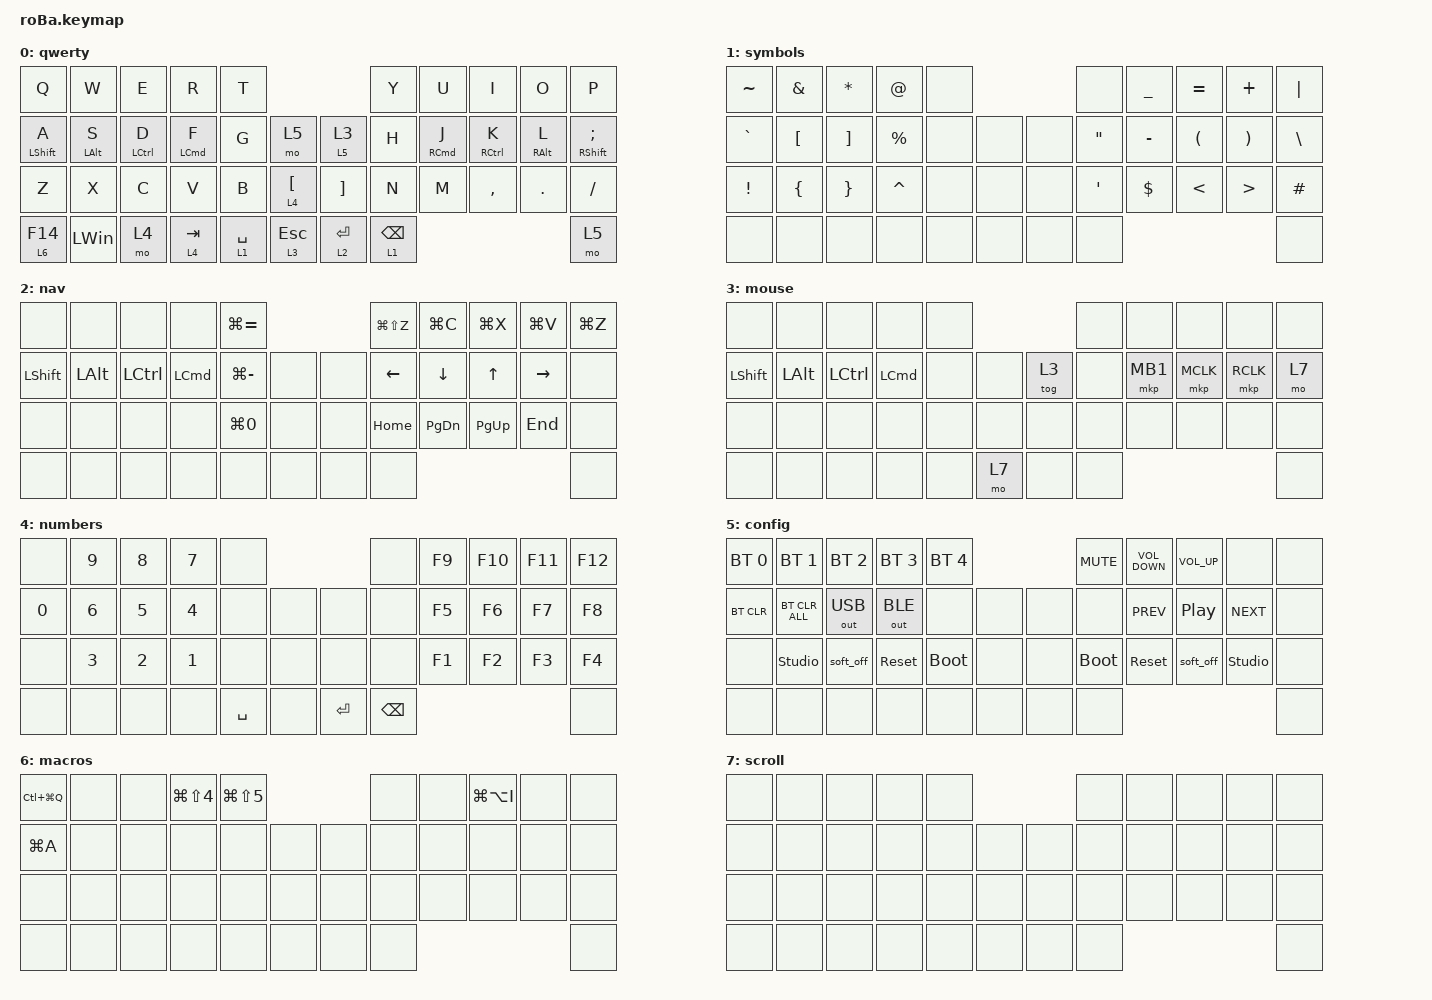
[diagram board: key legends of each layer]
#include <behaviors.dtsi>
#include <dt-bindings/zmk/bt.h>
#include <dt-bindings/zmk/keys.h>
#include <dt-bindings/zmk/outputs.h>
#include <dt-bindings/zmk/pointing.h>

&lt {
    tapping-term-ms = <175>;
    flavor = "balanced";
};

&trackball {
    // automouse-layer = <3>;

    scroll-layers = <7>;

    // arrows {
    //     layers = <3>;
    //     bindings =
    //         <&kp RIGHT_ARROW>,
    //         <&kp LEFT_ARROW>,
    //         <&kp UP_ARROW>,
    //         <&kp DOWN_ARROW>;
    //     tick = <10>;
    //     wait-ms = <5>;
    //     tap-ms = <5>;
    // };
};

/ {
    combos {
        compatible = "zmk,combos";

        combo_caps_word {
            bindings = <&caps_word>;
            key-positions = <38 41>;
        };
    };

    behaviors {
        hm: homerow_mod {
            compatible = "zmk,behavior-hold-tap";
            display-name = "Homerow Mod";
            bindings = <&kp>, <&kp>;

            #binding-cells = <2>;
            tapping-term-ms = <200>;
            quick-tap-ms = <150>;
            require-prior-idle-ms = <100>;
            flavor = "tap-preferred";
        };

        hms: homerow_mod_shift {
            compatible = "zmk,behavior-hold-tap";
            display-name = "Homerow Mod Shift";
            bindings = <&kp>, <&kp>;

            #binding-cells = <2>;
            tapping-term-ms = <175>;
            quick-tap-ms = <150>;
            require-prior-idle-ms = <100>;
            flavor = "tap-preferred";
        };

        thl: toggle_hold_layer {
            compatible = "zmk,behavior-hold-tap";
            display-name = "Toggle Hold Layer";
            bindings = <&mo>, <&tog>;

            #binding-cells = <2>;
            tapping-term-ms = <200>;
            flavor = "tap-preferred";
        };

        thumb_lt: thumb_lt {
            compatible = "zmk,behavior-hold-tap";
            display-name = "Thumb Layer Tap";
            bindings = <&mo>, <&kp>;

            #binding-cells = <2>;
            tapping-term-ms = <200>;
            quick-tap-ms = <150>;
            require-prior-idle-ms = <100>;
            flavor = "tap-preferred";
        };

        index_lt: index_lt {
            compatible = "zmk,behavior-hold-tap";
            label = "Index Layer Tap";
            bindings = <&mo>, <&kp>;

            #binding-cells = <2>;
            tapping-term-ms = <200>;
            require-prior-idle-ms = <100>;
            flavor = "tap-preferred";
        };

        tog_on: toggle_layer_on_only {
            compatible = "zmk,behavior-toggle-layer";
            #binding-cells = <1>;
            display-name = "Toggle Layer On";
            toggle-mode = "on";
        };
    };

    keymap {
        compatible = "zmk,keymap";

        QWERTY {
            bindings = <
&kp Q              &kp W           &kp E               &kp R               &kp T                                                   &kp Y            &kp U                &kp I                &kp O            &kp P
&hms LEFT_SHIFT A  &hm LEFT_ALT S  &hm LEFT_CONTROL D  &hm LEFT_COMMAND F  &kp G        &mo 5                   &thl 5 3           &kp H            &hm RIGHT_COMMAND J  &hm RIGHT_CONTROL K  &hm RIGHT_ALT L  &hms RIGHT_SHIFT SEMI
&kp Z              &kp X           &kp C               &kp V               &kp B        &lt 4 LEFT_BRACKET      &kp RIGHT_BRACKET  &kp N            &kp M                &kp COMMA            &kp DOT          &kp SLASH
&lt 6 F14          &kp LEFT_WIN    &mo 4               &thumb_lt 4 TAB     &lt 1 SPACE  &lt 3 ESCAPE            &lt 2 ENTER        &lt 1 BACKSPACE                                                             &mo 5
            >;

            display-name = "qwerty";
        };

        Symbols {
            bindings = <
&kp TILDE  &kp AMPERSAND   &kp ASTERISK     &kp AT       &none                    &none              &kp UNDER   &kp EQUAL             &kp PLUS               &kp PIPE
&kp GRAVE  &kp LBKT        &kp RBKT         &kp PERCENT  &none  &none      &none  &kp DOUBLE_QUOTES  &kp MINUS   &kp LEFT_PARENTHESIS  &kp RIGHT_PARENTHESIS  &kp BACKSLASH
&kp EXCL   &kp LEFT_BRACE  &kp RIGHT_BRACE  &kp CARET    &none  &none      &none  &kp SINGLE_QUOTE   &kp DOLLAR  &kp LESS_THAN         &kp GREATER_THAN       &kp HASH
&none      &none           &none            &none        &none  &none      &none  &none                                                                       &none
            >;

            display-name = "symbols";
        };

        Nav {
            bindings = <
&none           &none         &none             &none             &kp LG(EQUAL)                       &kp LG(LS(Z))  &kp LG(C)       &kp LG(X)     &kp LG(V)  &kp LG(Z)
&kp LEFT_SHIFT  &kp LEFT_ALT  &kp LEFT_CONTROL  &kp LEFT_COMMAND  &kp LG(MINUS)     &none      &none  &kp LEFT       &kp DOWN_ARROW  &kp UP_ARROW  &kp RIGHT  &none
&none           &none         &none             &none             &kp LG(NUMBER_0)  &none      &none  &kp HOME       &kp PAGE_DOWN   &kp PAGE_UP   &kp END    &none
&none           &none         &none             &none             &none             &none      &none  &none                                                   &none
            >;

            display-name = "nav";
        };

        Mouse {
            bindings = <
&none           &none         &none             &none             &none                     &none  &none     &none      &none      &none
&kp LEFT_SHIFT  &kp LEFT_ALT  &kp LEFT_CONTROL  &kp LEFT_COMMAND  &none  &none      &tog 3  &none  &mkp MB1  &mkp MCLK  &mkp RCLK  &mo 7
&none           &none         &none             &none             &none  &none      &none   &none  &none     &none      &none      &none
&none           &none         &none             &none             &none  &mo 7      &none   &none                                  &none
            >;

            display-name = "mouse";
        };

        Numbers {
            bindings = <
&none   &kp N9  &kp N8  &kp N7  &none                            &none          &kp F9  &kp F10  &kp F11  &kp F12
&kp N0  &kp N6  &kp N5  &kp N4  &none      &none      &none      &none          &kp F5  &kp F6   &kp F7   &kp F8
&none   &kp N3  &kp N2  &kp N1  &none      &none      &none      &none          &kp F1  &kp F2   &kp F3   &kp F4
&none   &none   &none   &none   &kp SPACE  &none      &kp ENTER  &kp BACKSPACE                            &none
            >;

            display-name = "numbers";
        };

        Config {
            bindings = <
&bt BT_SEL 0  &bt BT_SEL 1    &bt BT_SEL 2  &bt BT_SEL 3  &bt BT_SEL 4                    &kp C_MUTE   &kp C_VOLUME_DOWN  &kp C_VOLUME_UP  &none           &none
&bt BT_CLR    &bt BT_CLR_ALL  &out OUT_USB  &out OUT_BLE  &none         &none      &none  &none        &kp C_PREV         &kp C_PP         &kp C_NEXT      &none
&none         &studio_unlock  &soft_off     &sys_reset    &bootloader   &none      &none  &bootloader  &sys_reset         &soft_off        &studio_unlock  &none
&none         &none           &none         &none         &none         &none      &none  &none                                                            &none
            >;

            display-name = "config";
        };

        Macros {
            bindings = <
&kp LC(LG(Q))  &none  &none  &kp LG(LS(NUMBER_4))  &kp LG(LS(N5))                    &none  &none  &kp LG(LA(I))  &none  &none
&kp LG(A)      &none  &none  &none                 &none           &none      &none  &none  &none  &none          &none  &none
&none          &none  &none  &none                 &none           &none      &none  &none  &none  &none          &none  &none
&none          &none  &none  &none                 &none           &none      &none  &none                               &none
            >;

            display-name = "macros";
        };

        SCROLL {
            bindings = <
&none  &none  &none  &none  &none                    &none  &none  &none  &none  &none
&none  &none  &none  &none  &none  &none      &none  &none  &none  &none  &none  &none
&none  &none  &none  &none  &none  &none      &none  &none  &none  &none  &none  &none
&none  &none  &none  &none  &none  &none      &none  &none                       &none
            >;

            display-name = "scroll";
        };
    };
};
